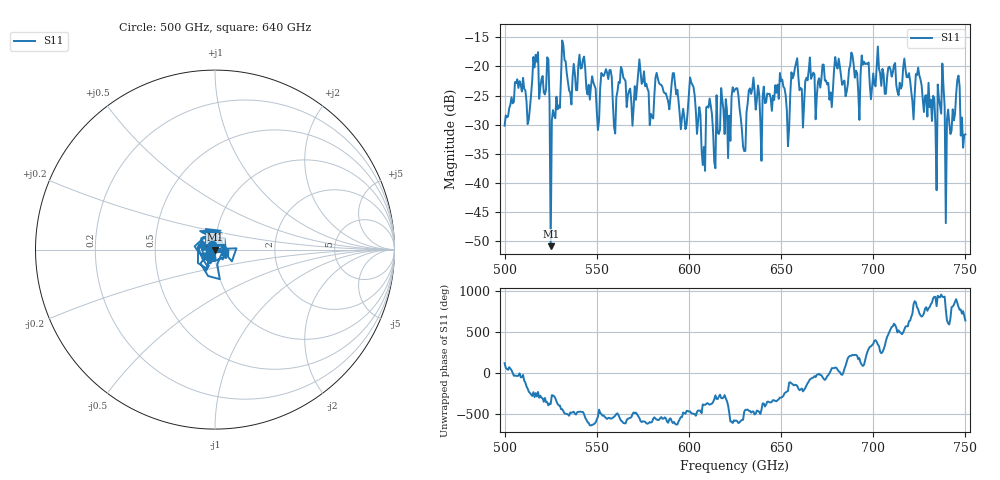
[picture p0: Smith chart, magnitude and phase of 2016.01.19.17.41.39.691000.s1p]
!Created with skrf (http://scikit-rf.org).
# GHz S RI R 50.0
!freq ReS11 ImS11
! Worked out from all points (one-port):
!   401 points, 500 GHz to 750 GHz, reference 50 ohm
!   lowest |S11| = -50.8 dB at 525 GHz (marker M1), VSWR 1.01, Z = 50.3 - j0.0903 ohm
!   |S11| at or under -10 dB: start of sweep to end of sweep
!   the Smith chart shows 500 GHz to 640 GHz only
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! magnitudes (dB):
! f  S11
! 500 GHz  -30.2
! 506.9 GHz  -22.2
! 513.1 GHz  -29.1
! 516.9 GHz  -18.0
! 523.1 GHz  -18.5
! 525 GHz  -50.8
! 531.2 GHz  -15.6
! 550.6 GHz  -30.9
! 562.5 GHz  -22.8
! 593.8 GHz  -24.0
! 601.9 GHz  -23.1
! 607.5 GHz  -36.9
! 610.6 GHz  -27.1
! 615 GHz  -25.0
! 625 GHz  -24.0
! 629.4 GHz  -33.8
! 633.8 GHz  -24.7
! 640 GHz  -25.1
! 650.6 GHz  -22.3
! 653.8 GHz  -33.7
! 656.2 GHz  -22.1
! 687.5 GHz  -19.8
! 718.8 GHz  -21.9
! 733.1 GHz  -25.5
! 737.5 GHz  -19.5
! 740.6 GHz  -27.4
! 745.6 GHz  -22.3
! 750 GHz  -31.7
